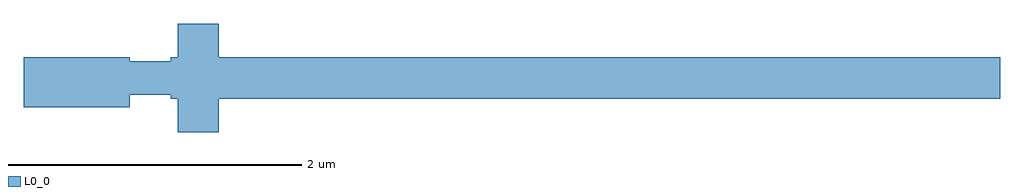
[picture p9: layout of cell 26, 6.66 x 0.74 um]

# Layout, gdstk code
import gdstk
lib = gdstk.Library(unit=1e-6, precision=1e-09)
def P(c, l, *ps):  # polygons
    for p in ps: c.add(gdstk.Polygon(p, *l))
L0_0 = (0, 0)

c_26 = lib.new_cell('26')
P(c_26, L0_0, [(947.9,931.7),(948.28,931.7),(948.28,931.42),(947.9,931.42),(947.9,931.7)],
  [(946.9,931.7),(947.62,931.7),(947.62,931.36),(946.9,931.36),(946.9,931.7)],
  [(947.43,931.675),(948.205,931.675),(948.205,931.445),(947.43,931.445),(947.43,931.675)],
  [(947.95,931.93),(948.23,931.93),(948.23,931.19),(947.95,931.19),(947.95,931.93)],
  [(947.9,931.7),(948.28,931.7),(948.28,931.42),(947.9,931.42),(947.9,931.7)],
  [(947.9,931.7),(948.28,931.7),(948.28,931.42),(947.9,931.42),(947.9,931.7)],
  [(947.95,931.7),(953.51,931.7),(953.51,931.42),(947.95,931.42),(947.95,931.7)],
  [(953.18,931.7),(953.56,931.7),(953.56,931.42),(953.18,931.42),(953.18,931.7)])

lib.write_gds('26.gds')
